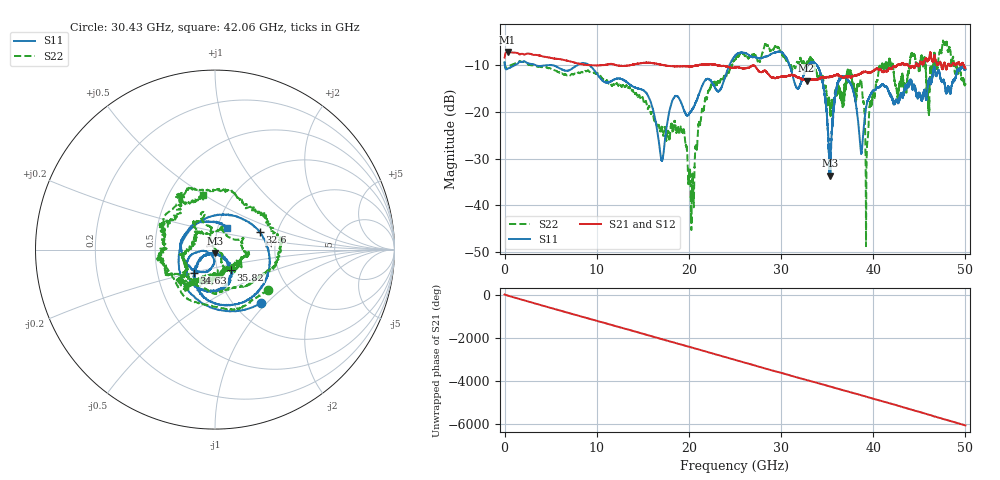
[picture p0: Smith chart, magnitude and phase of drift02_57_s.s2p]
!Created with skrf (http://scikit-rf.org).
# Hz S RI R 50.0
!freq ReS11 ImS11 ReS21 ImS21 ReS12 ImS12 ReS22 ImS22
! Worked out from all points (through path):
!   10001 points, 300 kHz to 50 GHz, reference 50 ohm
!   highest |S21| = -7.31 dB at 325.3 MHz (marker M1); lowest = -13.4 dB at 32.77 GHz (marker M2)
!   group delay of S21, straight-line fit = 335 ps
!   lowest |S11| = -33.7 dB at 35.3 GHz (marker M3), VSWR 1.04, Z = 50.1 - j2.07 ohm
!   |S11| at or under -10 dB: 3.228 GHz to 8.004 GHz (4.776 GHz wide, 85 % of centre); 9.106 GHz to 24.41 GHz (15.31 GHz wide, 91.3 % of centre); 33.85 GHz to 49.68 GHz (15.83 GHz wide, 37.9 % of centre) (the widest 3 of 9)
!   |S22| runs from -48.7 to -4.8 dB; largest |S21 - S12| = 0.013
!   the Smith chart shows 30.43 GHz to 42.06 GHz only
!   S11 on the Smith chart (normalised r, x): 30.43 GHz: 1.31, -0.93; 32.6 GHz: 1.62, +0.34; 34.63 GHz: 0.77, -0.20; 35.82 GHz: 1.16, -0.26; 42.06 GHz: 1.11, +0.27
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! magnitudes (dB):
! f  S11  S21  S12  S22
! 300 kHz  -9.5  -8.5  -8.4  -9.4
! 325.3 MHz  -10.9  -7.3  -7.3  -10.5
! 8.335 GHz  -9.7  -9.9  -9.9  -11.6
! 16.67 GHz  -25.5  -9.9  -9.9  -22.8
! 19.31 GHz  -18.9  -10.4  -10.3  -24.5
! 20.37 GHz  -19.5  -10.3  -10.3  -34.7
! 21.94 GHz  -13.1  -9.9  -10.0  -17.0
! 25 GHz  -8.1  -10.6  -10.6  -9.0
! 30.43 GHz  -8.1  -12.5  -12.5  -8.6
! 32.6 GHz  -11.5  -13.3  -13.4  -10.5
! 32.77 GHz  -10.8  -13.4  -13.4  -9.9
! 33.34 GHz  -9.5  -13.1  -13.2  -9.0
! 34.63 GHz  -15.2  -12.7  -12.7  -14.1
! 35.3 GHz  -33.7  -12.5  -12.6  -19.1
! 35.82 GHz  -16.9  -12.3  -12.4  -16.2
! 37.34 GHz  -13.5  -12.5  -12.5  -12.0
! 38.56 GHz  -26.2  -12.0  -12.0  -13.9
! 39.32 GHz  -18.2  -11.6  -11.6  -27.7
! 41.67 GHz  -15.7  -10.9  -11.1  -9.4
! 42.06 GHz  -17.2  -10.7  -10.7  -10.1
! 47.77 GHz  -14.3  -9.8  -9.7  -5.6
! 50 GHz  -11.1  -10.8  -10.8  -14.0
